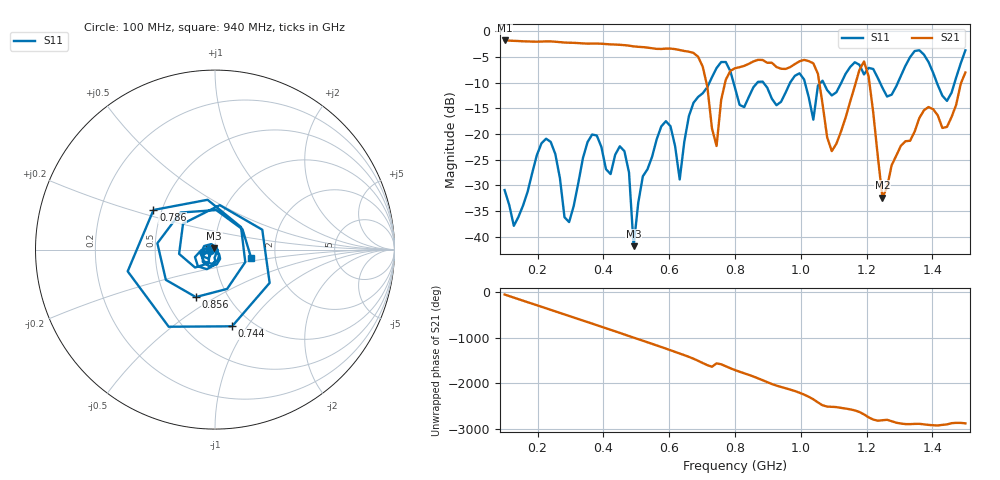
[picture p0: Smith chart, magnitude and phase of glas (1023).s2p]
! NanoVNA-App
! Date: 2025-09-25 16:03:26
! Start: 100MHz Stop: 1,5GHz Points: 101
! S-Parameter data: F S11 S21 S12 S22
# Hz S RI R 50
!  Frequency  S11_Real  S11_Imag  S21_Real  S21_Imag  S12_Real  S12_Imag  S22_Real  S22_Imag
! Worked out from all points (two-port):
!   101 points, 100 MHz to 1.5 GHz, reference 50 ohm
!   highest |S21| = -1.80 dB at 100 MHz (marker M1); lowest = -32.4 dB at 1.248 GHz (marker M2)
!   |S21| within 3 dB of the highest: start of sweep to 684.6 MHz
!   lowest |S11| = -41.8 dB at 492 MHz (marker M3), VSWR 1.02, Z = 49.5 + j0.616 ohm
!   |S11| at or under -10 dB: start of sweep to 722.4 MHz; 795.5 MHz to 868 MHz (72.52 MHz wide, 8.72 % of centre); 886.2 MHz to 967.7 MHz (81.45 MHz wide, 8.79 % of centre)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
!   S12 and S22 are empty: the file has one direction only
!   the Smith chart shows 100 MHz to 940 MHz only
!   S11 on the Smith chart (normalised r, x): 100 MHz: 0.94, -0.01; 744 MHz: 0.81, -0.85; 786 MHz: 0.45, +0.24; 856 MHz: 0.71, -0.41; 940 MHz: 1.49, -0.14
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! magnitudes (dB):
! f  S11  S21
! 100 MHz  -30.9  -1.8
! 128 MHz  -37.9  -1.9
! 226 MHz  -20.9  -2.0
! 296 MHz  -37.1  -2.2
! 338 MHz  -24.7  -2.4
! 464 MHz  -23.3  -2.7
! 492 MHz  -41.8  -3.0
! 576 MHz  -18.5  -3.5
! 632 MHz  -28.9  -3.7
! 702 MHz  -12.1  -6.9
! 744 MHz  -7.2  -22.3
! 786 MHz  -7.8  -7.7
! 800 MHz  -11.0  -7.2
! 856 MHz  -10.9  -5.9
! 940 MHz  -13.7  -7.3
! 1.038 GHz  -17.2  -6.2
! 1.094 GHz  -12.5  -23.3
! 1.192 GHz  -8.4  -5.9
! 1.248 GHz  -11.0  -32.4
! 1.276 GHz  -12.3  -26.1
! 1.444 GHz  -13.6  -18.6
! 1.5 GHz  -3.7  -8.0
